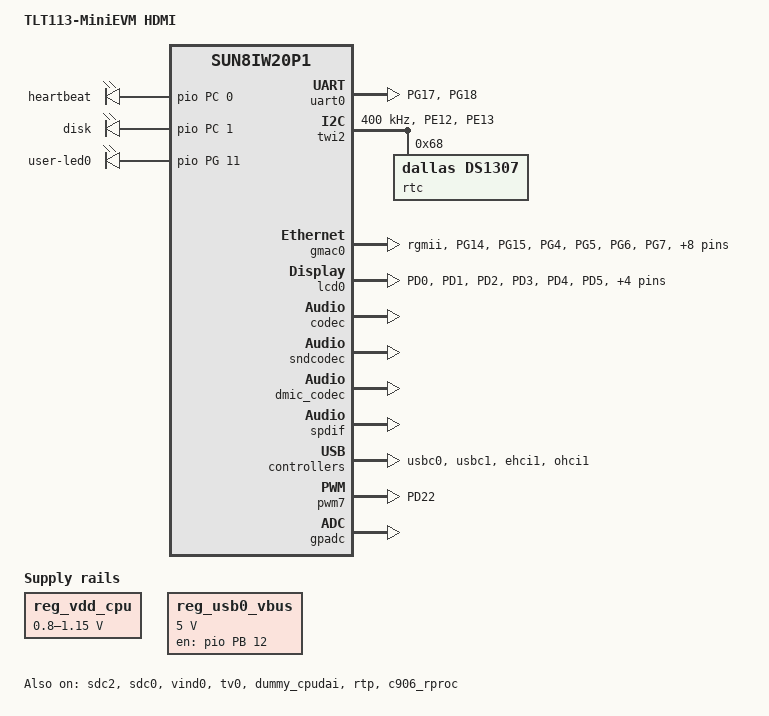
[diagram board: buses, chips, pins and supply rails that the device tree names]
/*
 * Allwinner Technology CO., Ltd.
 */

/dts-v1/;

#include "sun8iw20p1.dtsi"

/{
	board = "t113_i", "t113_i-evb1_auto";
	model = "TLT113-MiniEVM HDMI";
	compatible = "allwinner,t113_i", "arm,sun8iw20p1";

	reserved-memory {
		#address-cells = <2>;
		#size-cells = <2>;
		ranges;

		/* c906 */
		c906_ddr: c906_ddr@42300000 {
			reg = <0x0 0x42300000 0x0 0x00600000>;
			no-map;
		};

		video_data: video_data@44000000 {
			reg = <0x0 0x44000000 0x0 0x00200000>;
		};

		c906_mem_fw: c906_mem_fw@45000000 {
			reg = <0x0 0x45000000 0x0 0x00600000>;
		};
		/*
		 * The name should be "vdev%dbuffer".
		 * Its size should be not less than
		 *     RPMSG_BUF_SIZE * (num of buffers in a vring) * 2
		 *   = 512 * (num of buffers in a vring) * 2
		 */
		rv_vdev0buffer: vdev0buffer@42900000 {
			compatible = "shared-dma-pool";
			reg = <0x0 0x42900000 0x0 0x40000>;
			no-map;
		};

		/*
		 * The name should be "vdev%dvring%d".
		 * The size of each should be not less than
		 *     PAGE_ALIGN(vring_size(num, align))
		 *   = PAGE_ALIGN(16 * num + 6 + 2 * num + (pads for align) + 6 + 8 * num)
		 *
		 * (Please refer to the vring layout in include/uapi/linux/virtio_ring.h)
		 */
		rv_vdev0vring0: vdev0vring0@42940000 {
			reg = <0x0 0x42940000 0x0 0x2000>;
			no-map;
		};
		rv_vdev0vring1: vdev0vring1@42942000 {
			reg = <0x0 0x42942000 0x0 0x2000>;
			no-map;
		};

		dsp0_rpbuf_reserved: dsp0_rpbuf@42244000 {
			compatible = "shared-dma-pool";
			no-map;
			reg = <0x0 0x42244000 0x0 0x8000>;
		};

		dsp0ddr: dsp0ddr@42000000 {
			reg = <0x0 0x42000000 0x0 0x00100000>;
			no-map;
		};

		/*
		 * The name should be "vdev%dbuffer".
		 * Its size should be not less than
		 *     RPMSG_BUF_SIZE * (num of buffers in a vring) * 2
		 *   = 512 * (num of buffers in a vring) * 2
		 */
		vdev0buffer: vdev0buffer@42200000 {
			compatible = "shared-dma-pool";
			reg = <0x0 0x42200000 0x0 0x40000>;
			no-map;
		};

		/*
		 * The name should be "vdev%dvring%d".
		 * The size of each should be not less than
		 *     PAGE_ALIGN(vring_size(num, align))
		 *   = PAGE_ALIGN(16 * num + 6 + 2 * num + (pads for align) + 6 + 8 * num)
		 *
		 * (Please refer to the vring layout in include/uapi/linux/virtio_ring.h)
		 */
		vdev0vring0: vdev0vring0@42240000 {
			reg = <0x0 0x42240000 0x0 0x2000>;
			no-map;
		};
		vdev0vring1: vdev0vring1@42242000 {
			reg = <0x0 0x42242000 0x0 0x2000>;
			no-map;
		};

		/*
		* dsp ram addr
		*/
		dsp0dram: dsp0dram@400000 {
			reg = <0x0 0x400000 0x0 0x10000>;
			no-map;
		};
		dsp0iram0: dsp0iram0@420000 {
			reg = <0x0 0x420000 0x0 0x8000>;
			no-map;
		};
		dsp0iram1: dsp0iram1@440000 {
			reg = <0x0 0x440000 0x0 0x8000>;
			no-map;
		};
		dsp_share_space@42100000 {
			no-map;
			reg = <0x0 0x42100000 0x0 0x10000>;
		};

	};

	mailbox_heartbeat: mailbox_heartbeat@0 {
		compatible = "mailbox-heartbeat";
		rproc-np = <&dsp0_rproc>;
		mboxes = <&msgbox 2>, <&msgbox 3>;
		mbox-names = "tx", "rx";
		status = "okay";
	};

	dsp0_rproc: dsp_rproc@0 {
		compatible = "allwinner,hifi4-rproc", "simple-bus";
		clock-frequency = <600000000>;
		clocks = <&ccu CLK_PLL_PERIPH0_2X>, <&ccu CLK_DSP>, <&ccu CLK_BUS_DSP_CFG>, <&r_ccu CLK_R_AHB>;
		clock-names = "pll", "mod", "cfg", "ahbs";
		resets = <&ccu RST_BUS_DSP>, <&ccu RST_BUS_DSP_CFG>, <&ccu RST_BUS_DSP_DBG>, <&ccu RST_BUS_MSGBOX1>;
		reset-names = "mod-rst", "cfg-rst", "dbg-rst", "msg-rst";
		reg = <0x0 0x03000008 0x0 0x04>,
		      <0x0 0x01700000 0x0 0x40>;
		reg-names = "sram-for-cpux", "hifi4-cfg";
		mboxes = <&msgbox 0>;
		mbox-names = "arm-kick";
		memory-region = <&dsp0ddr>, <&vdev0buffer>, <&vdev0vring0>, <&vdev0vring1>,
				<&dsp0dram>, <&dsp0iram0>, <&dsp0iram1>;
		memory-mappings =
			/* < DA		len		PA >	*/
			/* local SRAM via external bus */
			< 0x28000	0x20000		0x28000 >,
			/* local SRAM via internal bus */
			< 0x400000	0x10000		0x400000 >,
			< 0x420000	0x8000		0x420000 >,
			< 0x440000	0x8000		0x440000 >,
			/* DDR front 256MB */
			< 0x10000000	0x10000000	0x40000000 >,
			/* local SRAM via internal bus */
			< 0x20028000	0x10000		0x400000 >,
			< 0x20038000	0x8000		0x420000 >,
			< 0x20040000	0x8000		0x440000 >,
			/* DDR front 256MB */
			< 0x30000000	0x10000000	0x40000000 >,
			/* DDR front 1GB */
			< 0x40000000	0x40000000	0x40000000 >,
			/* DDR front 1GB */
			< 0x80000000	0x40000000	0x40000000 >,
			/* DDR front 1GB */
			< 0xC0000000	0x40000000	0x40000000 >;

		id = <0>;
		status = "okay";

		/* driver config in dts for dsp0 */
		dsp0_system_resources: dsp_system_resources@0 {
			compatible = "allwinner,dsp-rproc-srm-core";
			status = "disabled";

			d_console_uart: d_console_uart@0 {
				compatible = "allwinner,dsp-rproc-srm-dev";
				status = "disabled";
			};

			d_gpio_interrupt: d_gpio_interrupt@0 {
				compatible = "allwinner,dsp-rproc-srm-dev";
				status = "disabled";
			};

			d_alsa_rpaf: d_alsa_rpaf@0 {
				compatible = "allwinner,dsp-rproc-srm-dev";
				status = "disabled";
			};
		};
	};

	rpbuf_controller0: rpbuf_controller@0 {
		compatible = "allwinner,rpbuf-controller";
		remoteproc = <&dsp0_rproc>;
		ctrl_id = <0>;	/* index of /dev/rpbuf_ctrl */
		//iommus = <&mmu_aw 5 1>;
		memory-region = <&dsp0_rpbuf_reserved>;
		status = "okay";
	};

	rpbuf_sample: rpbuf_sample@0 {
		compatible = "allwinner,rpbuf-sample";
		rpbuf = <&rpbuf_controller0>;
		status = "okay";
	};

	c906_rproc: c906_rproc@0 {
		compatible = "allwinner,c906-rproc";
		clock-frequency = <800000000>;
		clocks = <&ccu CLK_PLL_PERIPH0_800M>, <&ccu CLK_RISCV>, <&ccu CLK_BUS_RISCV_CFG>, <&ccu CLK_RISCV_RST>, <&ccu CLK_BUS_RISCV>;
		clock-names = "pll", "mod", "cfg", "riscv-rst", "riscv-gate";
		resets = <&ccu RST_BUS_RISCV_CFG>, <&ccu RST_BUS_MSGBOX2>;
		reset-names = "cfg-rst", "msg-rst";
		memory-region = <&c906_ddr>, <&rv_vdev0buffer>, <&rv_vdev0vring0>, <&rv_vdev0vring1>;
		fw-region = <&c906_mem_fw>;
		auto-boot;
		reg = <0x0 0x06010000 0x0 0x1000>;
		reg-names = "c906-cfg";
		mboxes = <&msgbox 4>;
		mbox-names = "arm-kick";
		memory-mappings =
			/* DA 	         len         PA */
			/* DDR for c906  */
			< 0x40000000 0x10000000 0x40000000 >;
		firmware-name = "amp_rv0.bin";
		status = "okay";
	};

	reg_vdd_cpu: vdd-cpu {
		compatible = "sunxi-pwm-regulator";
		pwms = <&pwm 7 5000 1>;
		regulator-name = "vdd_cpu";
		regulator-min-microvolt = <800000>;
		regulator-max-microvolt = <1150000>;
		regulator-settling-time-us = <4000>;
		regulator-always-on;
		regulator-boot-on;
		status = "okay";
	};

	reg_usb0_vbus: usb0-vbus {
		compatible = "regulator-fixed";
		regulator-name = "usb0-vbus";
		regulator-min-microvolt = <5000000>;
		regulator-max-microvolt = <5000000>;
		regulator-enable-ramp-delay = <1000>;
		gpio = <&pio PB 12 GPIO_ACTIVE_HIGH>;
		enable-active-high;
	};

	awlink0: awlink@0x0 {
		#address-cells = <1>;
		#size-cells = <0>;
		compatible = "allwinner,sun8i-awlink";
		device_type = "awlink0";
		id = <0>;
		status = "disabled";
	};

	awlink1: awlink@0x1 {
		#address-cells = <1>;
		#size-cells = <0>;
		compatible = "allwinner,sun8i-awlink";
		device_type = "awlink1";
		id = <1>;
		status = "disabled";
	};

	leds {
		compatible = "gpio-leds";
		status = "okay";

		led@0 {
			label = "heartbeat";
			gpios = <&pio PC 0 GPIO_ACTIVE_HIGH>;
			linux,default-trigger = "heartbeat";
		};

		led@1 {
			label = "disk";
			gpios = <&pio PC 1 GPIO_ACTIVE_HIGH>;
			linux,default-trigger = "mmc0";
		};

		led@2 {
			label = "user-led0";
			gpios = <&pio PG 11 GPIO_ACTIVE_HIGH>;
			default-state = "on";
		};
	};

};

&cpu0 {
	cpu-supply = <&reg_vdd_cpu>;
};

&pio {
	input-debounce = <0 0 0 0 0 1>;
	pinctrl_gpio_led: pinctrl_gpio_led {
		allwinner,pins = "PC0", "PC1", "PG11";
		allwinner,function = "gpio_out";
	};

	hw_watchdog_pins: hw_watchdog_pins {
		allwinner,pins = "PE0", "PG16";
		allwinner,function = "gpio_out";
	};
	sdc0_pins_a: sdc0@0 {
		allwinner,pins = "PF0", "PF1", "PF2",
				 "PF3", "PF4", "PF5";
		allwinner,function = "sdc0";
		allwinner,muxsel = <2>;
		allwinner,drive = <3>;
		allwinner,pull = <1>;
		pins = "PF0", "PF1", "PF2",
		       "PF3", "PF4", "PF5";
		function = "sdc0";
		drive-strength = <30>;
		bias-pull-up;
		power-source = <3300>;
	};


	sdc0_pins_b: sdc0@1 {
		pins = "PF0", "PF1", "PF2",
		       "PF3", "PF4", "PF5";
		function = "sdc0";
		drive-strength = <30>;
		bias-pull-up;
		power-source = <1800>;
	};

	sdc0_pins_c: sdc0@2 {
		pins = "PF0", "PF1", "PF2",
			"PF3", "PF4", "PF5";
		function = "gpio_in";
	};

	/* TODO: add jtag pin */
	sdc0_pins_d: sdc0@3 {
		pins = "PF2", "PF4";
		function = "uart0";
		drive-strength = <10>;
		bias-pull-up;
	};

	sdc0_pins_e: sdc0@4 {
		pins = "PF0", "PF1", "PF3",
			"PF5";
		function = "jtag";
		drive-strength = <10>;
		bias-pull-up;
	};


	sdc1_pins_a: sdc1@0 {
		pins = "PG0", "PG1", "PG2",
		       "PG3", "PG4", "PG5";
		function = "sdc1";
		drive-strength = <30>;
		bias-pull-up;
	};

	sdc1_pins_b: sdc1@1 {
		pins = "PG0", "PG1", "PG2",
		       "PG3", "PG4", "PG5";
			function = "sdc1";
	};

	sdc2_pins_a: sdc2@0 {
		allwinner,pins = "PC2", "PC3", "PC4",
				 "PC5", "PC6", "PC7";
		allwinner,function = "sdc2";
		allwinner,muxsel = <3>;
		allwinner,drive = <3>;
		allwinner,pull = <1>;
		pins = "PC2", "PC3", "PC4",
			"PC5", "PC6", "PC7";
		function = "sdc2";
		drive-strength = <30>;
		bias-pull-up;
	};

	sdc2_pins_b: sdc2@1 {
		pins = "PC2", "PC3", "PC4",
		       "PC5", "PC6", "PC7";
		function = "gpio_in";
	};

	lvds0_pins_a: lvds0@0 {
		allwinner,pins  = "PD0", "PD1", "PD2", "PD3", "PD4", "PD5", "PD6", "PD7", "PD8", "PD9";
		allwinner,pname = "PD0", "PD1", "PD2", "PD3", "PD4", "PD5", "PD6", "PD7", "PD8", "PD9";
		allwinner,function = "lvds0";
		allwinner,muxsel = <3>;
		allwinner,drive = <3>;
		allwinner,pull = <0>;
	};

	lvds0_pins_b: lvds0@1 {
		allwinner,pins  = "PD0", "PD1", "PD2", "PD3", "PD4", "PD5", "PD6", "PD7", "PD8", "PD9";
		allwinner,pname = "PD0", "PD1", "PD2", "PD3", "PD4", "PD5", "PD6", "PD7", "PD8", "PD9";
		allwinner,function = "io_disabled";
		allwinner,muxsel = <7>;
		allwinner,drive = <3>;
		allwinner,pull = <0>;
	};

	uart0_pins_a: uart0_pins@0 {  /* For EVB1 board */
		pins = "PG17", "PG18";
		function = "uart0";
		drive-strength = <10>;
		bias-pull-up;
	};

	uart0_pins_b: uart0_pins@1 {  /* For EVB1 board */
		pins = "PG17", "PG18";
		function = "gpio_in";
	};

	uart1_pins_a: uart1_pins@0 {  /* For EVB1 board */
		pins = "PB8", "PB9";
		function = "uart1";
		drive-strength = <10>;
		bias-pull-up;
	};

	uart1_pins_b: uart1_pins {  /* For EVB1 board */
		pins = "PB8", "PB9";
		function = "gpio_in";
	};

	uart2_pins_a: uart2_pins@0 {  /* For EVB1 board */
		pins = "PB0", "PB1";
		function = "uart2";
		drive-strength = <10>;
		bias-pull-up;
		};

	uart2_pins_b: uart2_pins@1 {  /* For EVB1 board */
		pins = "PB0", "PB1";
		function = "gpio_in";
		};

	uart3_pins_a: uart3_pins@0 {  /* For t113_evb */
		pins = "PB6", "PB7";
		function = "uart3";
		drive-strength = <10>;
		bias-pull-up;
	};

	uart3_pins_b: uart3_pins@1 {  /* For t113_evb */
		pins = "PB6", "PB7";
		function = "gpio_in";
	};

	uart4_pins_a: uart4_pins@0 {
		pins = "PE4", "PE5";
		function = "uart4";
		drive-strength = <10>;
		bias-pull-up;
	};

	uart4_pins_b: uart4_pins@1 {
		pins = "PE4", "PE5";
		function = "gpio_in";
	};

	uart5_pins_a: uart5_pins@0 {
		pins = "PE6", "PE7";
		function = "uart5";
		drive-strength = <10>;
		bias-pull-up;
	};

	uart5_pins_b: uart5_pins@1 {
		pins = "PE6", "PE7";
		function = "gpio_in";
	};

	twi0_pins_a: twi0@0 {
		pins = "PB10", "PB11";
		function = "twi0";
		drive-strength = <10>;
	};

	twi0_pins_b: twi0@1 {
		pins = "PB10", "PB11";
		function = "gpio_in";
	};

	twi1_pins_a: twi1@0 {
		/*	pins = "PE14", "PE15"; */
		pins = "PE0", "PE1";
		function = "twi1";
		drive-strength = <10>;
	};

	twi1_pins_b: twi1@1 {
		/*	pins = "PE14", "PE15"; */
		pins = "PE0", "PE1";
		function = "gpio_in";
	};

	twi2_pins_a: twi2@0 {
		pins = "PE12", "PE13";
		function = "twi2";
		drive-strength = <10>;
	};

	twi2_pins_b: twi2@1 {
		pins = "PE12", "PE13";
		function = "gpio_in";
	};

	twi3_pins_a: twi3@0 {
		pins = "PE16", "PE17";
	/*	pins = "PG10", "PG11"; */
		function = "twi3";
		drive-strength = <10>;
	};

	twi3_pins_b: twi3@1 {
		pins = "PE16", "PE17";
	/*	pins = "PG10", "PG11"; */
		function = "gpio_in";
	};

	s_cir0_pins_a: s_cir0@0 {
		pins = "PB1";
		function = "ir";
		drive-strength = <10>;
		bias-pull-up;
	};

	s_cir0_pins_b: s_cir0@1 {
		pins = "PB1";
		function = "gpio_in";
	};

	ir1_pins_a: ir1@0 {
		pins = "PB0";
		function = "ir";
		drive-strength = <10>;
		bias-pull-up;
	};

	ir1_pins_b: ir1@1 {
		pins = "PB0";
		function = "gpio_in";
	};

	dmic_pins_a: dmic@0 {
		/* DMIC_PIN: CLK, DATA0, DATA1, DATA2, DATA3*/
		pins = "PB12", "PB11", "PB10", "PE14", "PB8";
		function = "dmic";
		drive-strength = <20>;
		bias-disable;
	};

	dmic_pins_b: dmic@1 {
		pins = "PB12", "PB11", "PB10", "PE14", "PB8";
		allwinner,function = "io_disabled";
		drive-strength = <20>;
		bias-disable;
	};

	daudio0_pins_a: daudio0@0 {
		pins = "PB29", "PB23", "PB24",
		       "PB25", "PB26", "PB27", "PB28",
		       "PB22";
		function = "i2s0";
		drive-strength = <20>;
		bias-disable;
	};

	daudio0_pins_b: daudio0_sleep@0 {
		pins = "PB29", "PB23", "PB24",
		       "PB25", "PB26", "PB27", "PB28",
		       "PB22";
		function = "io_disabled";
		drive-strength = <20>;
		bias-disable;
	};

	daudio1_pins_a: daudio1@0 {
		/* MCLK, LRCK, BCLK */
		pins = "PG12", "PG13";
		function = "i2s1";
		drive-strength = <20>;
		bias-disable;
	};

	daudio1_pins_b: daudio1@1 {
		/* DIN0 */
		pins = "PG14";
		function = "i2s1_din";
		drive-strength = <20>;
		bias-disable;
	};

	daudio1_pins_c: daudio1@2 {
		/* DOUT0 */
		pins = "PG15";
		function = "i2s1_dout";
		drive-strength = <20>;
		bias-disable;
	};

	daudio1_pins_d: daudio1_sleep@0 {
		pins = "PG12", "PG13", "PG14", "PG15";
		function = "io_disabled";
		drive-strength = <20>;
		bias-disable;
	};

	daudio2_pins_a: daudio2@0 {
		/* I2S_PIN: MCLK, BCLK, LRCK */
		pins = "PB7", "PB6", "PB5";
		function = "i2s2";
		drive-strength = <20>;
		bias-disable;
	};

	daudio2_pins_b: daudio2@1 {
		/* I2S_PIN: DIN0 */
		pins = "PB3";
		function = "i2s2_din";
		drive-strength = <20>;
		bias-disable;
	};

	daudio2_pins_c: daudio2@2 {
		/* I2S_PIN: DOUT0 */
		pins = "PB4";
		function = "i2s2_dout";
		drive-strength = <20>;
		bias-disable;
	};

	daudio2_pins_d: daudio2_sleep@0 {
		pins = "PB7", "PB6", "PB5", "PB4", "PB3";
		function = "io_disabled";
		drive-strength = <20>;
		bias-disable;
	};

	spdif_pins_a: spdif@0 {
		/* SPDIF_PIN: SPDIF_OUT */
		pins = "PG18";
		function = "spdif";
		drive-strength = <20>;
		bias-disable;
	};

	spdif_pins_b: spdif_sleep@0 {
		pins = "PG18";
		function = "io_disabled";
		drive-strength = <20>;
		bias-disable;
	};
	gmac0_pins_a: gmac@0 {
		allwinner,pins = "PG14", "PG15", "PG4", "PG5", "PG6", "PG7", "PG12",
				 "PG3", "PG1", "PG2", "PG8", "PG9", "PG0", "PG10";
		allwinner,function = "gmac0";
		allwinner,muxsel = <4>;
		allwinner,drive = <1>;
		allwinner,pull = <1>;
	};

	gmac0_pins_b: gmac@1 {
		allwinner,pins = "PG14", "PG15", "PG4", "PG5", "PG6", "PG7", "PG12",
				 "PG3", "PG1", "PG2", "PG8", "PG9", "PG0", "PG10";
		allwinner,function = "gpio_in";
		allwinner,muxsel = <0>;
		allwinner,drive = <1>;
		allwinner,pull = <0>;
	};

	spi0_pins_a: spi0@0 {
		pins = "PC2", "PC4", "PC5","PC7", "PC6"; /*clk mosi miso hold wp*/
		function = "spi0";
		drive-strength = <10>;
	};

	spi0_pins_b: spi0@1 {
		pins = "PC3";
		function = "spi0";
		drive-strength = <10>;
		bias-pull-up;   /* only CS should be pulled up */
	};

	spi0_pins_c: spi0@2 {
		pins = "PC2", "PC3", "PC4", "PC5","PC6", "PC7";
		function = "gpio_in";
		drive-strength = <10>;
	};

	spi1_pins_a: spi1@0 {
		pins = "PB11", "PB10", "PB9","PB8", "PB0"; /*clk mosi miso hold wp*/
		function = "spi1";
		drive-strength = <10>;
	};

	spi1_pins_b: spi1@1 {
		pins = "PB12";
		function = "spi1";
		drive-strength = <10>;
		bias-pull-up;   // only CS should be pulled up
	};

	spi1_pins_c: spi1@2 {
		allwinner,pins = "PB0", "PB8", "PB9", "PB10","PB11", "PB12";
		allwinner,function = "gpio_in";
		allwinner,muxsel = <0>;
		drive-strength = <10>;
	};

	pwm3_pin_a: pwm3@0 {
		pins = "PB0";
		function = "pwm3";
		drive-strength = <10>;
		bias-pull-up;
	};

	pwm3_pin_b: pwm3@1 {
		pins = "PB0";
		function = "gpio_in";
	};

	pwm7_pin_a: pwm7@0 {
		pins = "PD22";
		function = "pwm7";
		drive-strength = <10>;
		bias-pull-up;
	};

	pwm7_pin_b: pwm7@1 {
		pins = "PD22";
		function = "gpio_in";
	};

	ledc_pins_a: ledc@0 {
		pins = "PF2";
		function = "ledc";
		drive-strength = <10>;
	};

	ledc_pins_b: ledc@1 {
		pins = "PF2";
		function = "gpio_in";
	};

	rgb24_pins_a: rgb24@0 {
		allwinner,pins = "PB2", "PB3", "PD0", "PD1", "PD2", "PD3", "PD4", "PD5", \
			"PB4", "PB5", "PD6", "PD7", "PD8", "PD9", "PD10", "PD11", \
			"PB6", "PB7", "PD12", "PD13", "PD14", "PD15", "PD16", "PD17", \
			"PD18", "PD19", "PD20", "PD21";
		allwinner,pname = "lcdd0", "lcdd1", "lcdd2", "lcdd3", "lcdd4", "lcdd5", "lcdd6", "lcdd7", \
			"lcdd8", "lcdd9", "lcdd10", "lcdd11", "lcdd12", "lcdd13", "lcdd14", "lcdd15", \
			"lcdd16", "lcdd17", "lcdd18", "lcdd19", "lcdd20", "lcdd21", "lcdd22", "lcdd23", \
			"lcdclk", "lcdde", "lcdhsync", "lcdvsync";
		allwinner,function = "lcd0";
		allwinner,muxsel = <2>;
		allwinner,drive = <3>;
		allwinner,pull = <0>;
	};

	rgb24_pins_b: rgb24@1 {
		allwinner,pins = "PB2", "PB3", "PD0", "PD1", "PD2", "PD3", "PD4", "PD5", \
			"PB4", "PB5", "PD6", "PD7", "PD8", "PD9", "PD10", "PD11", \
			"PB6", "PB7", "PD12", "PD13", "PD14", "PD15", "PD16", "PD17", \
			"PD18", "PD19", "PD20", "PD21";
		allwinner,pname = "lcdd0", "lcdd1", "lcdd2", "lcdd3", "lcdd4", "lcdd5", "lcdd6", "lcdd7", \
			"lcdd8", "lcdd9", "lcdd10", "lcdd11", "lcdd12", "lcdd13", "lcdd14", "lcdd15", \
			"lcdd16", "lcdd17", "lcdd18", "lcdd19", "lcdd20", "lcdd21", "lcdd22", "lcdd23", \
			"lcdclk", "lcdde", "lcdhsync", "lcdvsync";
		allwinner,function = "io_disabled";
		allwinner,muxsel = <7>;
		allwinner,drive = <3>;
		allwinner,pull = <0>;
	};

	dsi4lane_pins_a: dsi4lane@0 {
        allwinner,pins = "PD0", "PD1", "PD2", "PD3", "PD4", "PD5", "PD6", "PD7", "PD8", "PD9";
        allwinner,pname = "PD0", "PD1", "PD2", "PD3", "PD4", "PD5", "PD6", "PD7", "PD8", "PD9";
        allwinner,function = "dsi4lane";
        allwinner,muxsel = <4>;
        allwinner,drive = <3>;
        allwinner,pull = <0>;
	};

	dsi4lane_pins_b: dsi4lane@1 {
        allwinner,pins = "PD0", "PD1", "PD2", "PD3", "PD4", "PD5", "PD6", "PD7", "PD8", "PD9";
        allwinner,pname = "PD0", "PD1", "PD2", "PD3", "PD4", "PD5", "PD6", "PD7", "PD8", "PD9";
        allwinner,function = "dsi4lane_suspend";
        allwinner,muxsel = <7>;
        allwinner,drive = <1>;
        allwinner,pull = <0>;
	};

	csi0_pins_a: csi0@0 {
		pins = "PE2", "PE4", "PE5",
				"PE6", "PE7", "PE8", "PE9", "PE10", "PE11";
		function = "ncsi0";
		drive-strength = <10>;
	};

	csi0_pins_b: csi0@1 {
		pins = "PE2", "PE4", "PE5",
				"PE6", "PE7", "PE8", "PE9", "PE10", "PE11";
		function = "io_disabled";
		drive-strength = <10>;
	};
};

&uart0 {
	pinctrl-names = "default", "sleep";
	pinctrl-0 = <&uart0_pins_a>;
	pinctrl-1 = <&uart0_pins_b>;
        status = "okay";
};

&uart1 {
	pinctrl-names = "default", "sleep";
	pinctrl-0 = <&uart1_pins_a>;
	pinctrl-1 = <&uart1_pins_b>;
	status = "disabled";
};

&uart2 {
	pinctrl-names = "default", "sleep";
	pinctrl-0 = <&uart2_pins_a>;
	pinctrl-1 = <&uart2_pins_b>;
	status = "disabled";
};

&uart3 {
	pinctrl-names = "default", "sleep";
	pinctrl-0 = <&uart3_pins_a>;
	pinctrl-1 = <&uart3_pins_b>;
	status = "disabled";
};

&uart4 {
	pinctrl-names = "default", "sleep";
	pinctrl-0 = <&uart4_pins_a>;
	pinctrl-1 = <&uart4_pins_b>;
	status = "disabled";
};

&uart5 {
	pinctrl-names = "default", "sleep";
	pinctrl-0 = <&uart5_pins_a>;
	pinctrl-1 = <&uart5_pins_b>;
	status = "disabled";
};

&sdc2 {
	non-removable;
	bus-width = <4>;
	no-sdio;
	no-sd;
	ctl-spec-caps = <0x308>;
	cap-mmc-highspeed;
	sunxi-power-save-mode;
	sunxi-dis-signal-vol-sw;
	mmc-bootpart-noacc;
	max-frequency = <150000000>;
	/*vmmc-supply = <&reg_dcdc1>;*/
	/*emmc io vol 3.3v*/
	/*vqmmc-supply = <&reg_aldo1>;*/
	/*emmc io vol 1.8v*/
	/*vqmmc-supply = <&reg_eldo1>;*/
	status = "okay";
};

&sdc0 {
	bus-width = <4>;
	cd-gpios = <&pio PF 6 (GPIO_ACTIVE_LOW | GPIO_PULL_UP)>;
	/*non-removable;*/
	broken-cd;
	/*cd-inverted*/
	/*data3-detect;*/
	/*card-pwr-gpios = <&pio PH 14 1 1 2 0xffffffff>;*/
	/*cd-used-24M;*/
	cap-sd-highspeed;
	/*sd-uhs-sdr50;*/
	/*sd-uhs-ddr50;*/
	/*sd-uhs-sdr104;*/
	no-sdio;
	no-mmc;
	sunxi-power-save-mode;
	/*sunxi-dis-signal-vol-sw;*/
	max-frequency = <150000000>;
	ctl-spec-caps = <0x8>;
	/*vmmc-supply = <&reg_dcdc1>;*/
	/*vqmmc33sw-supply = <&reg_dcdc1>;*/
	/*vdmmc33sw-supply = <&reg_dcdc1>;*/
	/*vqmmc18sw-supply = <&reg_eldo1>;*/
	/*vdmmc18sw-supply = <&reg_eldo1>;*/
	status = "okay";
};

&sdc1 {
	bus-width = <4>;
	no-mmc;
	no-sd;
	cap-sd-highspeed;
	/*sd-uhs-sdr12*/
	/*sd-uhs-sdr25;*/
	/*sd-uhs-sdr50;*/
	/*sd-uhs-ddr50;*/
	/*sd-uhs-sdr104;*/
	/*sunxi-power-save-mode;*/
	/*sunxi-dis-signal-vol-sw;*/
	cap-sdio-irq;
	keep-power-in-suspend;
	ignore-pm-notify;
	max-frequency = <150000000>;
	ctl-spec-caps = <0x8>;
	status = "disabled";
};


&twi0 {
	clock-frequency = <400000>;
	pinctrl-0 = <&twi0_pins_a>;
	pinctrl-1 = <&twi0_pins_b>;
	pinctrl-names = "default", "sleep";
	twi_drv_used = <0>;
	dmas = <&dma 43>, <&dma 43>;
	dma-names = "tx", "rx";
	status = "disabled";
};

&twi1 {
	clock-frequency = <400000>;
	pinctrl-0 = <&twi1_pins_a>;
	pinctrl-1 = <&twi1_pins_b>;
	pinctrl-names = "default", "sleep";
	status = "disabled";
};

&twi2 {
	clock-frequency = <400000>;
	pinctrl-0 = <&twi2_pins_a>;
	pinctrl-1 = <&twi2_pins_b>;
	pinctrl-names = "default", "sleep";
	twi_drv_used = <1>;
	dmas = <&dma 45>, <&dma 45>;
	dma-names = "tx", "rx";
	status = "okay";

	rtc@68 {
		compatible = "dallas,ds1307";
		reg = <0x68>;
	};
};

&twi3 {
	clock-frequency = <400000>;
	pinctrl-0 = <&twi3_pins_a>;
	pinctrl-1 = <&twi3_pins_b>;
	pinctrl-names = "default", "sleep";
	status = "disabled";

	ctp: ctp@14 {
		compatible = "allwinner,goodix";
		device_type = "ctp";
		reg = <0x14>;
		status = "okay";
		ctp_name = "gt9xxnew_ts";
		ctp_twi_id = <0x2>;
		ctp_twi_addr = <0x14>;
		ctp_screen_max_x = <0x400>;
		ctp_screen_max_y = <0x258>;
		ctp_revert_x_flag = <0x1>;
		ctp_revert_y_flag = <0x1>;
		ctp_exchange_x_y_flag = <0x0>;
		ctp_int_port = <&pio PE 15 GPIO_ACTIVE_HIGH>;
		ctp_wakeup = <&pio PE 14 GPIO_ACTIVE_HIGH>;
		/*ctp-supply = <&reg_aldo2>;*/
		/*ctp_power_ldo = <&reg_aldo2>;*/
		/*ctp_power_ldo_vol = <3300>;*/
	};
	ac108: ac108@3B {
		#sound-dai-cells = <0>;
		compatible = "Allwinner,MicArray_0";
		device_type = "MicArray_0";
		reg = <0x3B>;
		regulator_used = <0x0>;
		power_voltage = <3300000>;
		regulator_name = "vcc-3v3";
		power_gpio_used = <0x0>;
		reset_gpio_used = <0x0>;
		twi_bus = <0x1>;
		pga_gain = <0x1F>;
		slot_width = <0x20>;
		lrck_period = <0x80>;
		ref_pga_used = <0x1>;
		ref_pga_gain = <0x10>;
		ref_channel = <0x3>;
		debug_mode = <0x0>;
		status = "disabled";
	};
};

&spi0 {
	clock-frequency = <100000000>;
	pinctrl-0 = <&spi0_pins_a &spi0_pins_b>;
	pinctrl-1 = <&spi0_pins_c>;
	pinctrl-names = "default", "sleep";
	/*spi-supply = <&reg_dcdc1>;*/
	spi_slave_mode = <0>;
	spi0_cs_number = <1>;
        spi0_cs_bitmap = <1>;
	status = "disabled";

	spi-nand@0 {
		compatible = "spi-nand";
		spi-max-frequency=<80000000>;
		reg = <0x0>;
		spi-rx-bus-width=<0x04>;
		spi-tx-bus-width=<0x04>;
		status="okay";
	};
};

&spi1 {
	clock-frequency = <100000000>;
	pinctrl-0 = <&spi1_pins_a &spi1_pins_b>;
	pinctrl-1 = <&spi1_pins_c>;
	pinctrl-names = "default", "sleep";
	spi_slave_mode = <0>;
	spi1_cs_number = <1>;
        spi1_cs_bitmap = <1>;
	status = "disabled";

	spi_board1@0 {
		device_type = "spi_board1";
		compatible = "rohm,dh2228fv";
		spi-max-frequency = <0x5f5e100>;
		reg = <0x0>;
		spi-rx-bus-width = <0x4>;
		spi-tx-bus-width = <0x4>;
		status = "disabled";
	};
};

&ledc {
	pinctrl-0 = <&ledc_pins_a>;
	pinctrl-1 = <&ledc_pins_b>;
	led_count = <32>;
	output_mode = "GRB";
	reset_ns = <84>;
	t1h_ns = <800>;
	t1l_ns = <450>;
	t0h_ns = <400>;
	t0l_ns = <850>;
	wait_time0_ns = <84>;
	wait_time1_ns = <84>;
	wait_data_time_ns = <600000>;
	status	= "disabled";
};

&s_cir0 {
	pinctrl-names = "default";
	pinctrl-0 = <&s_cir0_pins_a>;
	status = "disabled";
};

&ir1 {
	pinctrl-names = "default";
	pinctrl-0 = <&ir1_pins_a>;
	status = "disabled";
};

&csi0 {
	status = "disabled";
};

&gmac0 {
	pinctrl-0 = <&gmac0_pins_a>;
	pinctrl-1 = <&gmac0_pins_b>;
	pinctrl-names = "default", "sleep";
	phy-mode = "rgmii";
	use_ephy25m = <0>;
	phy-rst = <&pio PG 13 GPIO_ACTIVE_LOW>;
	tx-delay = <2>;
	rx-delay = <0>;
	phy-tx-delay = <3>;
	phy-rx-delay = <0>;
	status = "okay";
};

/*
this option is necessary if CONFIG_SUNXI_PM_DOMAINS enable
&ve {
	power-domains = <>;
	status = "okay";
};
*/

&soc {
	platform@45000004 {
		reg = <0x0 0x45000004 0x0 0x0>;
		eraseflag   = <1>;
		next_work   = <3>;
		debug_mode  = <8>;
	};

	target@45000008 {
		reg = <0x0 0x45000008 0x0 0x0>;
		boot_clock = <1008>;	/*CPU boot frequency, Unit: MHz*/
		storage_type = <0xffffffff>; /*boot medium, 0-nand, 1-card0, 2-card2, -1(defualt)auto scan*/
		burn_key = <0>;		/*1:support burn key; 0:not support burn key*/
		dragonboard_test = <0>;	/*1:support card boot dragonboard; 0:not support card boot dragonboard*/
	};

	card0_boot_para@2 {
		/*
		 * Avoid dtc compiling warnings.
		 * @TODO: Developer should modify this to the actual value
		 */
		reg = <0x0 0x2 0x0 0x0>;
		device_type = "card0_boot_para";
		card_ctrl = <0x0>;
		card_high_speed = <0x1>;
		card_line = <0x4>;
		pinctrl-0 = <&sdc0_pins_a>;
	};

	card2_boot_para@3 {
		/*
		 * Avoid dtc compiling warnings.
		 * @TODO: Developer should modify this to the actual value
		 */
		reg = <0x0 0x3 0x0 0x0>;
		device_type = "card2_boot_para";
		card_ctrl = <0x2>;
		card_high_speed = <0x1>;
		card_line = <0x4>;
		pinctrl-0 = <&sdc2_pins_a>;
		/*pinctrl-0 = <&sdc0_pins_a>;*/
		/*sdc_ex_dly_used = <0x2>;*/
		/*sdc_type = "tm4";*/
		sdc_ex_dly_used = <2>;
		/*sdc_tm4_win_th = <8>;*/
		/*sdc_dis_host_caps = <0x180>;*/
	};

	rfkill: rfkill@0 {
		compatible    = "allwinner,sunxi-rfkill";
		chip_en;
		power_en;
		status        = "disabled";

		wlan: wlan@0 {
			compatible    = "allwinner,sunxi-wlan";
			clock-names = "32k-fanout1";
			clocks = <&ccu CLK_FANOUT1_OUT>;
			wlan_busnum    = <0x1>;
			wlan_regon    = <&pio PD 15 GPIO_ACTIVE_HIGH>;
			/*wlan_power    = "VCC-3V3";*/
			/*wlan_power_vol = <3300000>;*/
			/*interrupt-parent = <&pio>;
			interrupts = < PG 10 IRQ_TYPE_LEVEL_HIGH>;*/
			wakeup-source;
			status        = "disabled";
		};

		bt: bt@0 {
			compatible    = "allwinner,sunxi-bt";
			clock-names = "32k-fanout1";
			clocks = <&ccu CLK_FANOUT1_OUT>;
			/*bt_power_num = <0x01>;*/
			/*bt_power      = "axp803-dldo1";*/
			/*bt_io_regulator = "axp803-dldo1";*/
			/*bt_io_vol = <3300000>;*/
			/*bt_power_vol = <330000>;*/
			bt_rst_n      = <&pio PD 14 GPIO_ACTIVE_LOW>;
			status        = "disabled";
		};
	};

	btlpm: btlpm@0 {
		compatible  = "allwinner,sunxi-btlpm";
		uart_index  = <0x1>;
		bt_wake     = <&pio PD 13 GPIO_ACTIVE_HIGH>;
		bt_hostwake = <&pio PD 12 GPIO_ACTIVE_HIGH>;
		status      = "disabled";
	};
	ddr_mgt:addr_mgt {
		compatible     = "allwinner,sunxi-addr_mgt";
		type_addr_wifi = <0x0>;
		type_addr_eth  = <0x0>;
		status         = "okay";
	};
};

&vind0 {
	csi_top = <378000000>;
	csi_isp = <327000000>;
	status = "okay"; /* enable twi and ver1 spi-nand max freq 30M */

	actuator0: actuator@5809450 {
		device_type = "actuator0";
		actuator0_name = "ad5820_act";
		actuator0_slave = <0x18>;
		actuator0_af_pwdn = <>;
		actuator0_afvdd = "afvcc-csi";
		actuator0_afvdd_vol = <2800000>;
		status = "disabled";
	};
	flash0: flash@5809460 {
		device_type = "flash0";
		flash0_type = <2>;
		flash0_en = <>;
		flash0_mode = <>;
		flash0_flvdd = "";
		flash0_flvdd_vol = <>;
		device_id = <0>;
		status = "disabled";
	};
	sensor0:sensor@5809470 {
		device_type = "sensor0";
		sensor0_mname = "n5";
		sensor0_twi_cci_id = <1>;
		sensor0_twi_addr = <0x64>;
		sensor0_mclk_id = <0>;
		sensor0_pos = "rear";
		sensor0_isp_used = <0>;
		sensor0_fmt = <0>;
		sensor0_stby_mode = <0>;
		sensor0_vflip = <0>;
		sensor0_hflip = <0>;
		sensor0_iovdd-supply = <>;
		sensor0_iovdd_vol = <3300000>;
		sensor0_avdd-supply = <>;
		sensor0_avdd_vol = <1200000>;
		sensor0_dvdd-supply = <>;
		sensor0_dvdd_vol = <1200000>;
		sensor0_power_en = <>;
		sensor0_reset = <&pio PE 13 GPIO_ACTIVE_LOW>;
		sensor0_pwdn = <>;
		status	= "okay";
	};
	sensor1:sensor@5809480 {
		device_type = "sensor1";
		sensor1_mname = "ov5647";
		sensor1_twi_cci_id = <3>;
		sensor1_twi_addr = <0x6c>;
		sensor1_mclk_id = <1>;
		sensor1_pos = "front";
		sensor1_isp_used = <0>;
		sensor1_fmt = <0>;
		sensor1_stby_mode = <0>;
		sensor1_vflip = <0>;
		sensor1_hflip = <0>;
		sensor1_iovdd-supply = <>;
		sensor1_iovdd_vol = <>;
		sensor1_avdd-supply = <>;
		sensor1_avdd_vol = <>;
		sensor1_dvdd-supply = <>;
		sensor1_dvdd_vol = <>;
		sensor1_power_en = <>;
		sensor1_reset = <&pio PE 7 GPIO_ACTIVE_LOW>;
		sensor1_pwdn = <&pio PE 6 GPIO_ACTIVE_LOW>;
		status	= "disabled";
	};
	vinc0:vinc@5809000 {
		vinc0_csi_sel = <0>;
		vinc0_mipi_sel = <0xff>;
		vinc0_isp_sel = <0>;
		vinc0_isp_tx_ch = <0>;
		vinc0_tdm_rx_sel = <0xff>;
		vinc0_rear_sensor_sel = <0>;
		vinc0_front_sensor_sel = <1>;
		vinc0_sensor_list = <0>;
		status = "okay";
	};
	vinc1:vinc@5809200 {
		vinc1_csi_sel = <0>;
		vinc1_mipi_sel = <0xff>;
		vinc1_isp_sel = <0>;
		vinc1_isp_tx_ch = <1>;
		vinc1_tdm_rx_sel = <0xff>;
		vinc1_rear_sensor_sel = <0>;
		vinc1_front_sensor_sel = <1>;
		vinc1_sensor_list = <0>;
		status = "okay";
	};
};

/*----------------------------------------------------------------------------------
disp init configuration

disp_mode             (0:screen0<screen0,fb0>)
screenx_output_type   (0:none; 1:lcd; 2:tv; 5:vdpo)
fbx format            (4:RGB655 5:RGB565 6:RGB556 7:ARGB1555 8:RGBA5551 9:RGB888 10:ARGB8888 12:ARGB4444)
fbx pixel sequence    (0:ARGB 1:BGRA 2:ABGR 3:RGBA)
fb0_scaler_mode_enable(scaler mode enable, used FE)
fbx_width,fbx_height  (framebuffer horizontal/vertical pixels, fix to output resolution while equal 0)
lcdx_backlight        (lcd init backlight,the range:[0,256],default:197
lcdx_yy               (lcd init screen bright/contrast/saturation/hue, value:0~100, default:50/50/57/50)
lcd0_contrast         (LCD contrast, 0~100)
lcd0_saturation       (LCD saturation, 0~100)
lcd0_hue              (LCD hue, 0~100)
framebuffer software rotation setting:
disp_rotation_used:   (0:disable; 1:enable,you must set fbX_width to lcd_y,
set fbX_height to lcd_x)
degreeX:              (X:screen index; 0:0 degree; 1:90 degree; 3:270 degree)
degreeX_Y:            (X:screen index; Y:layer index 0~15; 0:0 degree; 1:90 degree; 3:270 degree)
devX_output_type : config output type in bootGUI framework in UBOOT-2018.
				   (0:none; 1:lcd; 2:tv;)
devX_output_mode : config output resolution(see include/video/sunxi_display2.h) of bootGUI framework in UBOOT-2018
devX_screen_id   : config display index of bootGUI framework in UBOOT-2018
devX_do_hpd      : whether do hpd detectation or not in UBOOT-2018
chn_cfg_mode     : Hardware DE channel allocation config. 0:single display with 6
				   channel, 1:dual display with 4 channel in main display and 2 channel in second
                   display, 2:dual display with 3 channel in main display and 3 channel in second
                   in display.
----------------------------------------------------------------------------------*/
&disp {
	disp_init_enable         = <1>;
	disp_mode                = <0>;

	screen0_output_type      = <1>;
	screen0_output_mode      = <4>;

	screen1_output_type      = <1>;
	screen1_output_mode      = <4>;

	screen1_output_format    = <0>;
	screen1_output_bits      = <0>;
	screen1_output_eotf      = <4>;
	screen1_output_cs        = <257>;
	screen1_output_dvi_hdmi  = <2>;
	screen1_output_range     = <2>;
	screen1_output_scan      = <0>;
	screen1_output_aspect_ratio = <8>;

	dev0_output_type         = <1>;
	dev0_output_mode         = <4>;
	dev0_screen_id           = <0>;
	dev0_do_hpd              = <0>;

	dev1_output_type         = <4>;
	dev1_output_mode         = <10>;
	dev1_screen_id           = <1>;
	dev1_do_hpd              = <1>;

	def_output_dev           = <0>;
	hdmi_mode_check          = <1>;

	fb0_format               = <0>;
	fb0_width                = <1920>;
	fb0_height               = <1080>;

	fb1_format               = <0>;
	fb1_width                = <0>;
	fb1_height               = <0>;
	chn_cfg_mode             = <1>;

	disp_para_zone           = <1>;
	/*VCC-LCD*/
/*	dc1sw-supply = <&reg_dc1sw>;*/
	/*VCC-DSI*/
/*	eldo3-supply = <&reg_eldo3>;*/
	/*VCC-PD*/
/*	dcdc1-supply = <&reg_dcdc1>;*/
};

/*----------------------------------------------------------------------------------
;tv configuration
;interface          (interface type,1<->cvbs,2<->YPBPR,4<->SVIDEO)
;dac_type           (0<->composite,1<->luma,2<->chroma,3<->reserved,4<->y/green,
;                    5<->u/pb/blue,6<->v/pr/red)
;dac_src            (dac no,support dac_src0~dac_src3,dac num max is 4)
;NOTE:              tv0,tv1 can not use the same dac_src.
;---------------------------------------------------------------------------------*/
&tv0 {
	interface       = <1>;
	dac_type0       = <0>;
	dac_src0        = <0>;

	status =  "okay";
};

/*----------------------------------------------------------------------------------
;lcd0 configuration

;lcd_if:               0:hv(sync+de); 1:8080; 2:ttl; 3:lvds; 4:dsi; 5:edp; 6:extend dsi
;lcd_hv_if             0:Parallel RGB; 8:Serial RGB; 10:Dummy RGB; 11: RGB Dummy;12:CCIR656
;lcd_hv_clk_phase      0:0 degree;1:90 degree;2:180 degree;3:270 degree
;lcd_hv_sync_polarity  0:vs low,hs low; 1:vs high,hslow; 2:vs low,hs high; 3:vs high,hs high
;lcd_hv_syuv_seq       0:YUYV; 1:YVYU; 2:UYVY; 3:VYUY
;lcd_cpu_if            0:18bit/1 cycle parallel(RGB666); 4:16bit/1cycle parallel (RGB565)
;                      6:18bit/3 cycle parallel(RGB666); 7:16bit/2cycle parallel (RGB565)
;lcd_cpu_te            0:frame auto trigger; 1:frame triggered by te rising edge; 2:frame triggered by te falling edge;
;lcd_dsi_if            0:video mode; 1: Command mode; 2:video burst mode
;lcd_dsi_te            0:frame auto trigger; 1:frame triggered by te rising edge; 2:frame triggered by te falling edge;
;lcd_x:                lcd horizontal resolution
;lcd_y:                lcd vertical resolution
;lcd_width:            width of lcd in mm
;lcd_height:           height of lcd in mm
;lcd_dclk_freq:        in MHZ unit
;lcd_pwm_freq:         in HZ unit
;lcd_pwm_pol:          lcd backlight PWM polarity
;lcd_pwm_max_limit     lcd backlight PWM max limit(<=255)
;lcd_hbp:              hsync back porch(pixel) + hsync plus width(pixel);
;lcd_ht:               hsync total cycle(pixel)
;lcd_vbp:              vsync back porch(line) + vysnc plus width(line)
;lcd_vt:               vysnc total cycle(line)
;lcd_hspw:             hsync plus width(pixel)
;lcd_vspw:             vysnc plus width(pixel)
;lcd_lvds_if:          0:single link;  1:dual link
;lcd_lvds_colordepth:  0:8bit; 1:6bit
;lcd_lvds_mode:        0:NS mode; 1:JEIDA mode
;lcd_frm:              0:disable; 1:enable rgb666 dither; 2:enable rgb656 dither
;lcd_io_phase:         0:noraml; 1:intert phase(0~3bit: vsync phase; 4~7bit:hsync phase;
;                      8~11bit:dclk phase; 12~15bit:de phase)
;lcd_gamma_en          lcd gamma correction enable
;lcd_bright_curve_en   lcd bright curve correction enable
;lcd_cmap_en           lcd color map function enable
;deu_mode              0:smoll lcd screen; 1:large lcd screen(larger than 10inch)
;lcdgamma4iep:         Smart Backlight parameter, lcd gamma vale * 10;
;                      decrease it while lcd is not bright enough; increase while lcd is too bright
;smart_color           90:normal lcd screen 65:retina lcd screen(9.7inch)
;Pin setting for special function ie.LVDS, RGB data or vsync
;   name(donot care) = port:PD12<pin function><pull up or pull down><drive ability><output level>
;Pin setting for gpio:
;   lcd_gpio_X     = port:PD12<pin function><pull up or pull down><drive ability><output level>
;Pin setting for backlight enable pin
;   lcd_bl_en     = port:PD12<pin function><pull up or pull down><drive ability><output level>
;fsync setting, pulse to csi
;lcd_fsync_en          (0:disable fsync,1:enable)
;lcd_fsync_act_time    (active time of fsync, unit:pixel)
;lcd_fsync_dis_time    (disactive time of fsync, unit:pixel)
;lcd_fsync_pol         (0:positive;1:negative)
;gpio config: <&pio for cpu or &r_pio for cpus, port, port num, pio function,
pull up or pull down(default 0), driver level(default 1), data>
;For dual link lvds: use lvds2link_pins_a  and lvds2link_pins_b instead
;For rgb24: use rgb24_pins_a  and rgb24_pins_b instead
;For lvds1: use lvds1_pins_a  and lvds1_pins_b instead
;For lvds0: use lvds0_pins_a  and lvds0_pins_b instead
;----------------------------------------------------------------------------------*/
&lcd0 {
	lcd_used            = <1>;

	lcd_driver_name     = "panel-lt8912b-hdmi";
	lcd_backlight       = <255>;
	lcd_if              = <4>;

	lcd_x               = <1920>;
	lcd_y               = <1080>;
	lcd_dclk_freq       = <148>;

	lcd_hbp             = <192>;
	lcd_ht              = <2200>;
	lcd_hspw            = <44>;
	lcd_vbp             = <41>;
	lcd_vt              = <1125>;
	lcd_vspw            = <5>;

	lcd_dsi_lane        = <4>;
	lcd_dsi_if          = <0>;
	lcd_dsi_format      = <0>;
	lcd_dsi_te          = <0>;
	lcd_frm             = <0>;
	lcd_io_phase        = <0>;
	lcd_gamma_en        = <0>;
	lcd_bright_curve_en = <0>;
	lcd_cmap_en         = <0>;

	deu_mode            = <0>;
	lcdgamma4iep        = <22>;
	smart_color         = <90>;

	lcd_gpio_0 = <&pio PE 11 GPIO_ACTIVE_HIGH>;
	pinctrl-0 = <&dsi4lane_pins_a>;
	pinctrl-1 = <&dsi4lane_pins_b>;
};
/*
&lcd0 {
	lcd_used            = <1>;

	lcd_driver_name     = "he0801a068";
	lcd_backlight       = <50>;
	lcd_if              = <4>;

	lcd_x               = <800>;
	lcd_y               = <1280>;
	lcd_width           = <800>;
	lcd_height          = <1280>;
	lcd_dclk_freq       = <78>;

	lcd_pwm_used        = <1>;
	lcd_pwm_ch          = <7>;
	lcd_pwm_freq        = <50000>;
	lcd_pwm_pol         = <1>;
	lcd_pwm_max_limit   = <255>;

	lcd_hbp             = <149>;
	lcd_ht              = <978>;
	lcd_hspw            = <16>;
	lcd_vbp             = <7>;
	lcd_vt              = <1329>;
	lcd_vspw            = <5>;

	lcd_dsi_lane        = <4>;
	lcd_dsi_if          = <0>;
	lcd_dsi_format      = <0>;
	lcd_dsi_te          = <0>;
	lcd_frm             = <0>;
	lcd_io_phase        = <0>;
	lcd_gamma_en        = <0>;
	lcd_bright_curve_en = <0>;
	lcd_cmap_en         = <0>;

	deu_mode            = <0>;
	lcdgamma4iep        = <22>;
	smart_color         = <90>;

	lcd_gpio_0 = <&pio PG 13 GPIO_ACTIVE_HIGH>;
	pinctrl-0 = <&dsi4lane_pins_a>;
	pinctrl-1 = <&dsi4lane_pins_b>;
};*/
/*
&lcd0 {
	lcd_used            = <1>;

	lcd_driver_name     = "default_lcd";
	lcd_backlight       = <50>;
	lcd_if              = <0>;

	lcd_x               = <800>;
	lcd_y               = <480>;
	lcd_width           = <150>;
	lcd_height          = <94>;
	lcd_dclk_freq       = <52>;

	lcd_pwm_used        = <1>;
	lcd_pwm_ch          = <3>;
	lcd_pwm_freq        = <50000>;
	lcd_pwm_pol         = <1>;

	lcd_hbp             = <160>;
	lcd_ht              = <1344>;
	lcd_hspw            = <60>;
	lcd_vbp             = <23>;
	lcd_vt              = <638>;
	lcd_vspw            = <10>;

	lcd_lvds_if         = <0>;
	lcd_lvds_colordepth = <1>;
	lcd_lvds_mode       = <0>;
	lcd_frm             = <0>;
	lcd_io_phase        = <0x0000>;
	lcd_gamma_en        = <0>;
	lcd_bright_curve_en = <0>;
	lcd_cmap_en         = <0>;

	deu_mode            = <0>;
	lcdgamma4iep        = <22>;
	smart_color         = <90>;

	lcd_bl_en = <&pio PB 1 1 0xffffffff 0xffffffff 0x1>;
	pinctrl-0 = <&rgb18_pins_a>;
	pinctrl-1 = <&rgb18_pins_b>;
};*/

/*
tvd configuration
used                   (create device, 0: do not create device, 1: create device)
agc_auto_enable        (0: agc manual mode,agc_manual_value is valid; 1: agc auto mode)
agc_manual_value       (agc manual value, default value is 64)
cagc_enable            (cagc        0: disable, 1: enable)
fliter_used            (3d fliter   0: disable, 1: enable)
support two PMU power  (tvd_power0, tvd_power1)
support two GPIO power (tvd_gpio0, tvd_gpio1)
NOTICE: If tvd need pmu power or gpio power,params need be configured under [tvd]
tvd_sw                 (the switch of all tvd driver.)
tvd_interface          (0: cvbs, 1: ypbpr,)
tvd_format             (0:TVD_PL_YUV420 , 1: MB_YUV420, 2: TVD_PL_YUV422)
tvd_system             (0:ntsc, 1:pal)
tvd_row                (total row number in multi channel mode 1-2)
tvd_column             (total column number in multi channel mode 1-2)
tvd_channelx_en        (0:disable, 1~4:position in multi channel mode,In single channel
                       mode,mean enable)
tvd_row*tvd_column is the total tvd channel number to be used in multichannel mode
+--------------------+--------------------+
|                    |                    |
|                    |                    |
|         1          |         2          |
|                    |                    |
|                    |                    |
+--------------------+--------------------+
|                    |                    |
|                    |                    |
|         3          |         4          |
|                    |                    |
|                    |                    |
+--------------------+--------------------+
*/

&tvd {
	tvd_sw          = <1>;
	tvd_interface   = <0>;
	tvd_format      = <0>;
	tvd_system      = <1>;
	tvd_row         = <1>;
	tvd_column      = <1>;
	tvd_channel0_en = <1>;
	tvd_channel1_en = <0>;
	tvd_channel2_en = <0>;
	tvd_channel3_en = <0>;
	/*tvd_gpio0 = <&pio PD 22 GPIO_ACTIVE_HIGH>;*/
	/*tvd_gpio1 = <&pio PD 23 GPIO_ACTIVE_HIGH>;*/
	/*tvd_gpio2 = <&pio PD 24 GPIO_ACTIVE_HIGH>;*/
	/*	dc1sw-supply = <&reg_dc1sw>;*/
	/*	eldo3-supply = <&reg_eldo3>;*/
	/*tvd_power0      = "dc1sw"*/
	/*tvd_power1      = "eldo3"*/
};

&tvd0 {
	used                    = <1>;
	agc_auto_enable         = <1>;
	agc_manual_value        = <64>;
	cagc_enable             = <1>;
	fliter_used             = <1>;
};

/* Audio Driver modules */
/* if audiocodec is used, sdc0 and uart0 should be closed to enable PA. */
&codec {
	/* MIC and headphone gain setting */
	mic1gain 	= <0x1F>;
	mic2gain 	= <0x1F>;
	mic3gain 	= <0x1F>;
	/* ADC/DAC DRC/HPF func enabled */
        /* 0x1:DAP_HP_EN; 0x2:DAP_SPK_EN; 0x3:DAP_HPSPK_EN */
	adcdrc_cfg 	= <0x0>;
	adchpf_cfg 	= <0x0>;
	dacdrc_cfg 	= <0x2>;
	dachpf_cfg 	= <0x3>;
	/* Volume about */
	digital_vol 	= <0x00>;
	lineout_vol 	= <0x1a>;
	headphonegain	= <0x03>;
	/* Pa enabled about */
	pa_level 	= <0x01>;
	pa_pwr_level 	= <0x01>;
	pa_msleep_time 	= <0x78>;
/*	gpio-spk-pwr	= <&pio PF 4 GPIO_ACTIVE_HIGH>;*/
	/* CMA config about */
	playback_cma	= <128>;
	capture_cma	= <256>;
	/* regulator about */
	/* avcc-supply	= <&reg_aldo1>; */
	/* hpvcc-supply	= <&reg_eldo1>; */
	status = "okay";
};

&sndcodec {
	status = "okay";
};

&dummy_cpudai {
	status = "okay";
};

&dmic {
	pinctrl-names   = "default","sleep";
	pinctrl-0       = <&dmic_pins_a>;
	pinctrl-1       = <&dmic_pins_b>;
	status = "disabled";
};

&dmic_codec {
	status = "okay";
};

&sounddmic {
	status = "okay";
};

/*-----------------------------------------------------------------------------
 * pcm_lrck_period	16/32/64/128/256
 * slot_width_select	16bits/20bits/24bits/32bits
 * frametype		0 --> short frame = 1 clock width;
 *			1 --> long frame = 2 clock width;
 * tdm_config		0 --> pcm
 *			1 --> i2s
 * mclk_div		0 --> not output
 *			1/2/4/6/8/12/16/24/32/48/64/96/128/176/192
 *			(set mclk as external codec clk source, freq is pll_audio/mclk_div)
 *			1 --> I2S/PCM use for external audio
 * daudio_type:		0 --> external audio type
 *---------------------------------------------------------------------------*/
&daudio0 {
	mclk_div 	= <0x01>;
	frametype 	= <0x00>;
	tdm_config 	= <0x01>;
	sign_extend 	= <0x00>;
	msb_lsb_first 	= <0x00>;
	pcm_lrck_period = <0x80>;
	slot_width_select = <0x20>;
	pinctrl-names   = "default", "sleep";
	pinctrl-0       = <&daudio0_pins_a>;
	pinctrl-1       = <&daudio0_pins_b>;
	pinctrl_used	= <0x0>;
	status = "disabled";
};

&sounddaudio0 {
	status = "disabled";
	daudio0_master: simple-audio-card,codec {
		/* sound-dai = <&ac108>; */
	};
};

/*-----------------------------------------------------------------------------
 * simple-audio-card,name	name of sound card, e.g.
 *				"snddaudio0" --> use for external audio
 * sound-dai			"snd-soc-dummy" --> use for I2S
 *				"ac108" --> use for external audio of ac108
 *---------------------------------------------------------------------------*/
&daudio1 {
	mclk_div 	= <0x01>;
	frametype 	= <0x00>;
	tdm_config 	= <0x01>;
	sign_extend 	= <0x00>;
	msb_lsb_first 	= <0x00>;
	pcm_lrck_period = <0x80>;
	slot_width_select = <0x20>;
	pinctrl-names   = "default", "sleep";
	pinctrl-0       = <&daudio1_pins_a>;
	pinctrl-1       = <&daudio1_pins_d>;
	pinctrl_used	= <0x0>;
	status = "disabled";
};

&sounddaudio1 {
	status = "disabled";
	daudio1_master: simple-audio-card,codec {
		/* sound-dai = <&ac108>; */
	};
};

&daudio2 {
	mclk_div 	= <0x01>;
	frametype 	= <0x00>;
	tdm_config 	= <0x01>;
	sign_extend 	= <0x00>;
	tx_data_mode 	= <0x00>;
	rx_data_mode 	= <0x00>;
	msb_lsb_first 	= <0x00>;
	pcm_lrck_period = <0x80>;
	slot_width_select = <0x20>;
	asrc_function_en  = <0x00>;
	pinctrl-names   = "default", "sleep";
	pinctrl-0       = <&daudio2_pins_a &daudio2_pins_b &daudio2_pins_c>;
	pinctrl-1       = <&daudio2_pins_d>;
	pinctrl_used	= <0x1>;
	daudio_type	= <0x0>;
	status = "disabled";
};

&sounddaudio2 {
	status = "okay";
	daudio2_master: simple-audio-card,codec {
		/* sound-dai = <&ac108>; */
	};
};

&spdif {
	status = "okay";
};

&soundspdif {
	status = "okay";
};

/*
 *usb_port_type: usb mode. 0-device, 1-host, 2-otg.
 *usb_detect_type: usb hotplug detect mode. 0-none, 1-vbus/id detect, 2-id/dpdm detect.
 *usb_detect_mode: 0-thread scan, 1-id gpio interrupt.
 *usb_id_gpio: gpio for id detect.
 *usb_det_vbus_gpio: gpio for id detect. gpio or "axp_ctrl";
 *usb_wakeup_suspend：0-SUPER_STANDBY, 1-USB_STANDBY.
 */
&usbc0 {
	device_type = "usbc0";
	usb_port_type = <0x2>;
	usb_detect_type = <0x1>;
	usb_detect_mode = <0x1>;
	usb_id_gpio = <&pio PE 2 GPIO_ACTIVE_HIGH>;
	enable-active-high;
	/* usb_det_vbus_gpio = <&pio PB 10 GPIO_ACTIVE_HIGH>; */
	usb_wakeup_suspend = <0>;
	usb_serial_unique = <0>;
	usb_serial_number = "20080411";
	rndis_wceis = <1>;
	status = "okay";
};

&ehci0 {
	drvvbus-supply = <&reg_usb0_vbus>;
};

&ohci0 {
	drvvbus-supply = <&reg_usb0_vbus>;
};

&usbc1 {
	device_type = "usbc1";
	usb_regulator_io = "nocare";
	usb_wakeup_suspend = <0>;
	status = "okay";
};

&ehci1 {
	/* drvvbus-supply = <&reg_usb1_vbus>; */
	status = "okay";
};

&ohci1 {
	/* drvvbus-supply = <&reg_usb1_vbus>; */
	status = "okay";
};

&pwm3 {
	pinctrl-names = "active", "sleep";
	pinctrl-0 = <&pwm3_pin_a>;
	pinctrl-1 = <&pwm3_pin_b>;
	status = "disabled";
};

&pwm7 {
	pinctrl-names = "active", "sleep";
	pinctrl-0 = <&pwm7_pin_a>;
	pinctrl-1 = <&pwm7_pin_b>;
	status = "okay";
};

&gpadc {
	channel_num = <2>;
	channel_select = <3>;
	channel_data_select = <3>;
	channel_compare_select = <3>;
	channel_cld_select = <3>;
	channel_chd_select = <3>;
	channel0_compare_lowdata = <1700000>;
	channel0_compare_higdata = <1200000>;
	channel1_compare_lowdata = <460000>;
	channel1_compare_higdata = <1200000>;
	status = "okay";
};

&rtp {
	allwinner,tp-sensitive-adjust = <0xf>;
	allwinner,filter-type = <0x1>;
	allwinner,ts-attached;
	status = "okay";
};

&cpu_thermal_zone {
	cpu_trips: trips {
		cpu_crit: cpu_crit@0 {
			temperature = <115000>;
			type = "critical";
			hysteresis = <0>;
		};
	};
};

/* LRADC KEY */
&keyboard0 {
	key_cnt = <1>;
	key0 = <210 148>; /* <Voltage mV> <KEY_PROG1>*/
};

&rtc {
	status = "disabled"; /* Disable cpu rtc */
};




